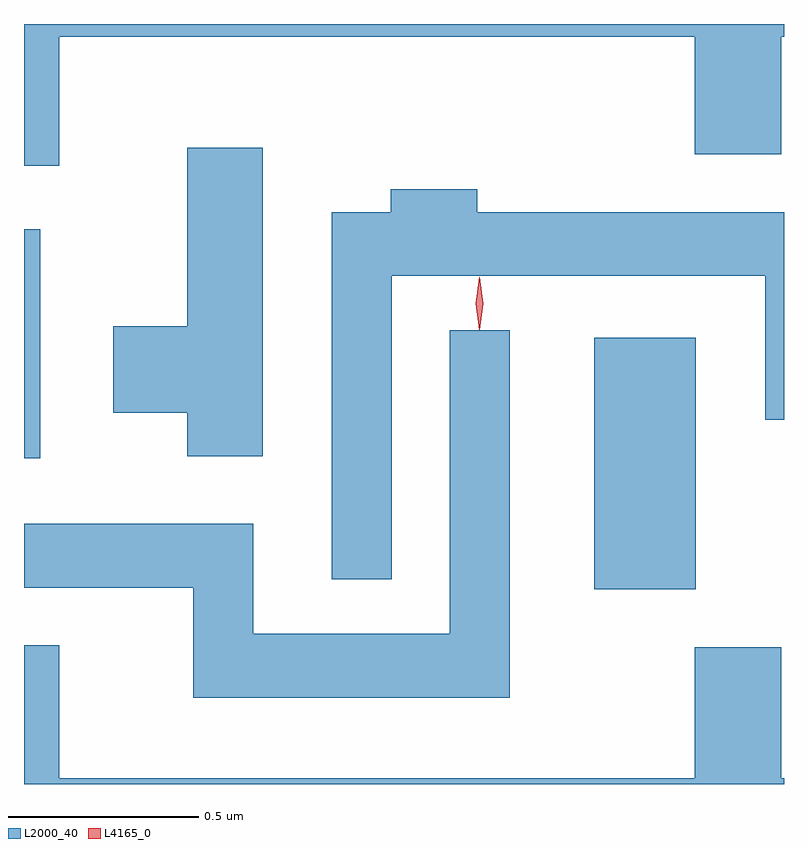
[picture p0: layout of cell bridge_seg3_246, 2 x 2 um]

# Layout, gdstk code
import gdstk
lib = gdstk.Library(unit=1e-6, precision=1e-09)
def R(c, l, rs):  # rectangles x0, y0, x1, y1
    for r in rs: c.add(gdstk.rectangle(r[:2], r[2:], *l))
def P(c, l, *ps):  # polygons
    for p in ps: c.add(gdstk.Polygon(p, *l))
L2000_40 = (2000, 40)
L4165_0 = (4165, 0)

bridge_seg3_246 = lib.new_cell('bridge_seg3_246')
R(bridge_seg3_246, L2000_40, [(922.326,1142.321,922.594,1142.984), (920.826,1142.666,920.869,1143.269)])
P(bridge_seg3_246, L2000_40, [(920.919,1143.776),(922.591,1143.776),(922.591,1143.466),(922.819,1143.466),(922.819,1143.776),(922.826,1143.776),(922.826,1143.809),(920.826,1143.809),(920.826,1143.436),(920.919,1143.436)],
  [(921.454,1143.484),(921.256,1143.484),(921.256,1143.014),(921.061,1143.014),(921.061,1142.786),(921.256,1142.786),(921.256,1142.671),(921.454,1142.671)],
  [(921.794,1143.146),(922.776,1143.146),(922.776,1142.768),(922.826,1142.768),(922.826,1143.314),(922.019,1143.314),(922.019,1143.374),(921.791,1143.374),(921.791,1143.314),(921.636,1143.314),(921.636,1142.348),(921.794,1142.348)],
  [(922.104,1143.003),(921.946,1143.003),(921.946,1142.204),(921.429,1142.204),(921.429,1142.494),(920.826,1142.494),(920.826,1142.326),(921.271,1142.326),(921.271,1142.036),(922.104,1142.036)],
  [(922.826,1141.824),(922.819,1141.824),(922.819,1142.169),(922.591,1142.169),(922.591,1141.824),(920.919,1141.824),(920.919,1142.174),(920.826,1142.174),(920.826,1141.809),(922.826,1141.809)])
P(bridge_seg3_246, L4165_0, [(922.024,1143.004),(922.015,1143.073),(922.024,1143.143),(922.025,1143.143),(922.025,1143.143),(922.035,1143.073),(922.025,1143.004),(922.025,1143.004)],
  [(922.024,1143.007),(922.015,1143.074),(922.024,1143.14),(922.025,1143.141),(922.025,1143.14),(922.035,1143.074),(922.025,1143.007),(922.025,1143.007)])

lib.write_gds('bridge_seg3_246.gds')
